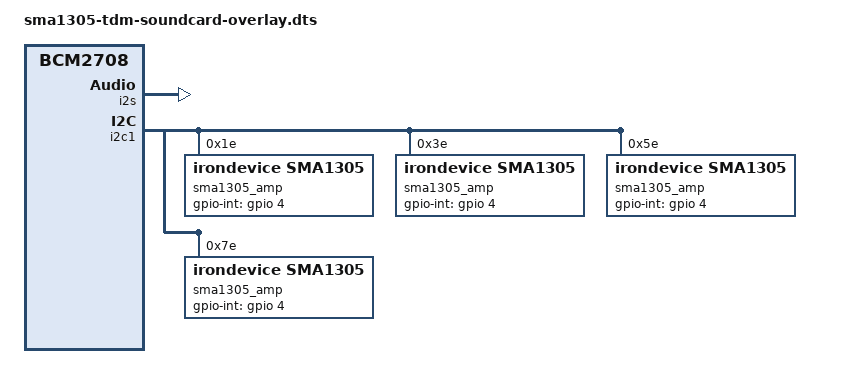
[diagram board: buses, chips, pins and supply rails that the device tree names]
/*
 * Example Device Tree Definitions for SMA1305 Audio Amplifier on Raspberry Pi
 * name : sma1305-i2s-soundcard-overlay_stereo.dts
 * Compile for dts
 * dtc -@ -I dts -O dtb -o sma1305-i2s-soundcard.dtbo sma1305-i2s-soundcard-overlay_stereo.dts
 * sudo cp sma1305-i2s-soundcard.dtbo /boot/overlays
 * adding dtoverlay sma1305-i2s-soundcard.dtbo in config.txt
 */

/dts-v1/;
/plugin/;

/ {
	compatible = "brcm,bcm2708";

	fragment@0 {
		target = <&i2s>;
		__overlay__ {
			status = "okay";
		};
	};

	fragment@1 {
		target = <&gpio>;
		__overlay__ {
			fault_interrupt_pins: fault_interrupt_pins {
				brcm,pins = <4>;
				brcm,function = <0>; /* input */
				brcm,pull = <2>; /* pull-up */
			};
		};
	};

	fragment@2 {
		target = <&i2c1>;
		__overlay__ {
			#address-cells = <1>;
			#size-cells = <0>;

			status = "okay";

			sma1305_amp: sma1305@1e {
				#sound-dai-cells = <0>;
				compatible = "irondevice,sma1305";
				reg = <0x1e>;
				init-vol = <0x31>;
				/* TDM Slot Position
				 * 4 slot : 0 ~ 3,
				 * 8 slot : 0 ~ 7
				 */
				tdm-slot-rx = <0>;
				tdm-slot-tx = <4>;
				/* Disalbe	: 0x00,
				 * FORMAT_C	: 0x01,
				 * MONO_MIX	: 0x02,
				 * AFTER_DSP	: 0x03,
				 * VRMS2_AVG	: 0x04,
				 * VBAT_MON	: 0x05,
				 * TEMP_MON	: 0x06,
				 * AFTER_DEALY	: 0x07
				 */
				sdo0-sel = <5>;
				stereo-two-chip;
				/* SPK_4.0W_MODE   : 0x00,
				 * SPK_4.5W_MODE   : 0x01,
				 * SPK_6.0W_MODE   : 0x02,
				 * RCV_0.1W_MODE   : 0x03,
				 * RCV_0.5W_MODE   : 0x04,
				 */
				spk-rcv-mode = <1>;
				/* EXTERNAL_CLOCK_19_2   : 0x00,
				 * EXTERNAL_CLOCK_24_576 : 0x01,
				 * PLL_CLKIN_MCLK        : 0x02,
				 * PLL_CLKIN_BCLK        : 0x03
				 */
				sys-clk-id = <0x03>;
				sma1305,gpio-int= <&gpio 4 0>;
				i2c-retry-count = <3>;
				/* temp-gain-table = <0xF1 0x36 1>,<0xFB 0x35 0>,
						  <0xFF 0x34 0>,<0x05 0x33 0>,
						  <0x0A 0x32 0>,<0x0F 0x31 0>,
						  <0x14 0x30 0>; */
				status = "okay";
			};
			
			sma1305_amp: sma1305@3e {
				#sound-dai-cells = <0>;
				compatible = "irondevice,sma1305";
				reg = <0x3e>;
				init-vol = <0x31>;
				/* TDM Slot Position
				 * 4 slot : 0 ~ 3,
				 * 8 slot : 0 ~ 7
				 */
				tdm-slot-rx = <1>;
				tdm-slot-tx = <5>;
				/* Disalbe	: 0x00,
				 * FORMAT_C	: 0x01,
				 * MONO_MIX	: 0x02,
				 * AFTER_DSP	: 0x03,
				 * VRMS2_AVG	: 0x04,
				 * VBAT_MON	: 0x05,
				 * TEMP_MON	: 0x06,
				 * AFTER_DEALY	: 0x07
				 */
				sdo0-sel = <5>;
				stereo-two-chip;
				/* SPK_4.0W_MODE   : 0x00,
				 * SPK_4.5W_MODE   : 0x01,
				 * SPK_6.0W_MODE   : 0x02,
				 * RCV_0.1W_MODE   : 0x03,
				 * RCV_0.5W_MODE   : 0x04,
				 */
				spk-rcv-mode = <1>;
				/* EXTERNAL_CLOCK_19_2   : 0x00,
				 * EXTERNAL_CLOCK_24_576 : 0x01,
				 * PLL_CLKIN_MCLK        : 0x02,
				 * PLL_CLKIN_BCLK        : 0x03
				 */
				sys-clk-id = <0x03>;
				sma1305,gpio-int= <&gpio 4 0>;
				i2c-retry-count = <3>;
				/* temp-gain-table = <0xF1 0x36 1>,<0xFB 0x35 0>,
						  <0xFF 0x34 0>,<0x05 0x33 0>,
						  <0x0A 0x32 0>,<0x0F 0x31 0>,
						  <0x14 0x30 0>; */
				status = "okay";
			};
			
			sma1305_amp: sma1305@5e {
				#sound-dai-cells = <0>;
				compatible = "irondevice,sma1305";
				reg = <0x5e>;
				init-vol = <0x31>;
				/* TDM Slot Position
				 * 4 slot : 0 ~ 3,
				 * 8 slot : 0 ~ 7
				 */
				tdm-slot-rx = <2>;
				tdm-slot-tx = <6>;
				/* Disalbe	: 0x00,
				 * FORMAT_C	: 0x01,
				 * MONO_MIX	: 0x02,
				 * AFTER_DSP	: 0x03,
				 * VRMS2_AVG	: 0x04,
				 * VBAT_MON	: 0x05,
				 * TEMP_MON	: 0x06,
				 * AFTER_DEALY	: 0x07
				 */
				sdo0-sel = <5>;
				stereo-two-chip;
				/* SPK_4.0W_MODE   : 0x00,
				 * SPK_4.5W_MODE   : 0x01,
				 * SPK_6.0W_MODE   : 0x02,
				 * RCV_0.1W_MODE   : 0x03,
				 * RCV_0.5W_MODE   : 0x04,
				 */
				spk-rcv-mode = <1>;
				/* EXTERNAL_CLOCK_19_2   : 0x00,
				 * EXTERNAL_CLOCK_24_576 : 0x01,
				 * PLL_CLKIN_MCLK        : 0x02,
				 * PLL_CLKIN_BCLK        : 0x03
				 */
				sys-clk-id = <0x03>;
				sma1305,gpio-int= <&gpio 4 0>;
				i2c-retry-count = <3>;
				/* temp-gain-table = <0xF1 0x36 1>,<0xFB 0x35 0>,
						  <0xFF 0x34 0>,<0x05 0x33 0>,
						  <0x0A 0x32 0>,<0x0F 0x31 0>,
						  <0x14 0x30 0>; */
				status = "okay";
			};
			
			sma1305_amp: sma1305@7e {
				#sound-dai-cells = <0>;
				compatible = "irondevice,sma1305";
				reg = <0x7e>;
				init-vol = <0x31>;
				/* TDM Slot Position
				 * 4 slot : 0 ~ 3,
				 * 8 slot : 0 ~ 7
				 */
				tdm-slot-rx = <3>;
				tdm-slot-tx = <7>;
				/* Disalbe	: 0x00,
				 * FORMAT_C	: 0x01,
				 * MONO_MIX	: 0x02,
				 * AFTER_DSP	: 0x03,
				 * VRMS2_AVG	: 0x04,
				 * VBAT_MON	: 0x05,
				 * TEMP_MON	: 0x06,
				 * AFTER_DEALY	: 0x07
				 */
				sdo0-sel = <5>;
				stereo-two-chip;
				/* SPK_4.0W_MODE   : 0x00,
				 * SPK_4.5W_MODE   : 0x01,
				 * SPK_6.0W_MODE   : 0x02,
				 * RCV_0.1W_MODE   : 0x03,
				 * RCV_0.5W_MODE   : 0x04,
				 */
				spk-rcv-mode = <1>;
				/* EXTERNAL_CLOCK_19_2   : 0x00,
				 * EXTERNAL_CLOCK_24_576 : 0x01,
				 * PLL_CLKIN_MCLK        : 0x02,
				 * PLL_CLKIN_BCLK        : 0x03
				 */
				sys-clk-id = <0x03>;
				sma1305,gpio-int= <&gpio 4 0>;
				i2c-retry-count = <3>;
				/* temp-gain-table = <0xF1 0x36 1>,<0xFB 0x35 0>,
						  <0xFF 0x34 0>,<0x05 0x33 0>,
						  <0x0A 0x32 0>,<0x0F 0x31 0>,
						  <0x14 0x30 0>; */
				status = "okay";
			};
		};
	};

	fragment@3 {
		target = <&sound>;
		__overlay__ {
			compatible = "simple-audio-card";
			simple-audio-card,name = "sma1305_soundcard";
			simple-audio-card,format = "DSP_A";
			simple-audio-card,bitclock-slave = <&codec_dai>;
			simple-audio-card,frame-slave = <&codec_dai>;
			status = "okay";
			cpu_dai: simple-audio-card,cpu {
				sound-dai = <&tdm>;
			};
			codec_dai: simple-audio-card,codec {
				sound-dai = <&sma1305_amp>;
			};
		};
	};
};
